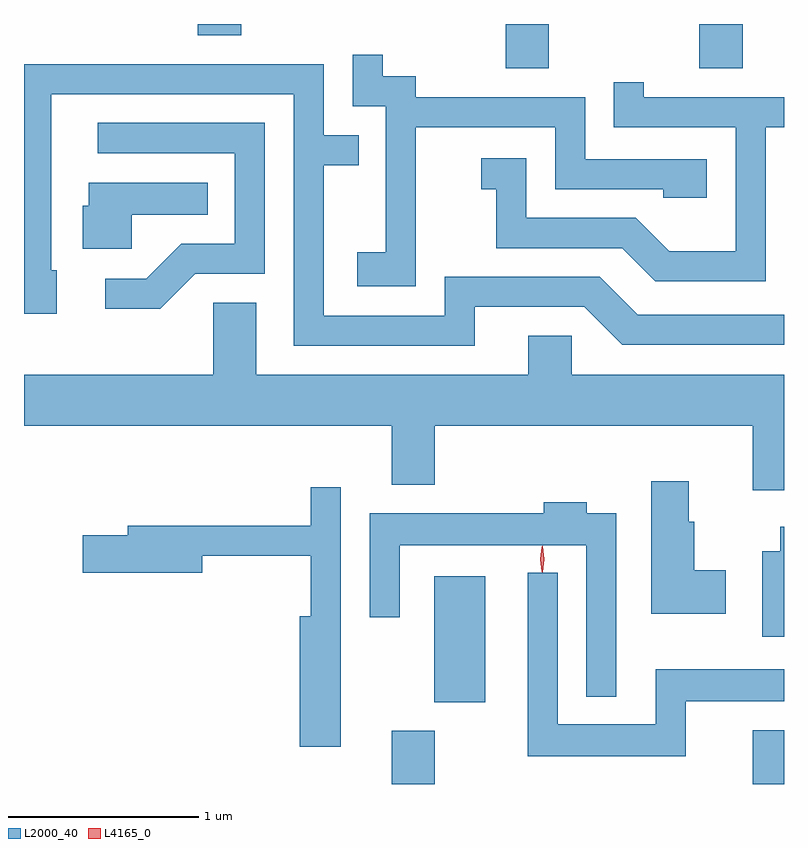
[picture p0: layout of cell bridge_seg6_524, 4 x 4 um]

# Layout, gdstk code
import gdstk
lib = gdstk.Library(unit=1e-6, precision=1e-09)
def R(c, l, rs):  # rectangles x0, y0, x1, y1
    for r in rs: c.add(gdstk.rectangle(r[:2], r[2:], *l))
def P(c, l, *ps):  # polygons
    for p in ps: c.add(gdstk.Polygon(p, *l))
L2000_40 = (2000, 40)
L4165_0 = (4165, 0)

bridge_seg6_524 = lib.new_cell('bridge_seg6_524')
R(bridge_seg6_524, L2000_40, [(485.141,1634.73,485.369,1635.009), (487.041,1634.73,487.206,1635.014), (485.366,1635.161,485.634,1635.824), (485.741,1638.496,485.969,1638.73), (486.761,1638.496,486.989,1638.73), (484.121,1638.671,484.349,1638.73)])
P(bridge_seg6_524, L2000_40, [(485.269,1638.186),(486.001,1638.186),(486.001,1637.861),(486.571,1637.861),(486.571,1637.816),(486.799,1637.816),(486.799,1638.019),(486.159,1638.019),(486.159,1638.344),(485.269,1638.344),(485.269,1638.454),(485.094,1638.454),(485.094,1638.568),(484.936,1638.568),(484.936,1638.296),(485.111,1638.296),(485.111,1637.529),(484.961,1637.529),(484.961,1637.351),(485.269,1637.351)],
  [(485.579,1637.241),(486.154,1637.241),(486.354,1637.041),(487.206,1637.041),(487.206,1637.199),(486.437,1637.199),(486.237,1637.399),(485.421,1637.399),(485.421,1637.194),(484.784,1637.194),(484.784,1637.986),(484.968,1637.986),(484.968,1638.144),(484.784,1638.144),(484.784,1638.519),(483.206,1638.519),(483.206,1637.206),(483.379,1637.206),(483.379,1637.434),(483.349,1637.434),(483.349,1638.361),(484.626,1638.361),(484.626,1637.036),(485.579,1637.036)],
  [(487.109,1638.186),(487.206,1638.186),(487.206,1638.344),(486.469,1638.344),(486.469,1638.423),(486.311,1638.423),(486.311,1638.186),(486.951,1638.186),(486.951,1637.534),(486.602,1637.534),(486.427,1637.709),(485.849,1637.709),(485.849,1638.024),(485.613,1638.024),(485.613,1637.861),(485.691,1637.861),(485.691,1637.551),(486.354,1637.551),(486.529,1637.376),(487.109,1637.376)],
  [(484.107,1637.416),(484.474,1637.416),(484.474,1638.209),(483.593,1638.209),(483.593,1638.051),(484.316,1638.051),(484.316,1637.574),(484.034,1637.574),(483.849,1637.389),(483.633,1637.389),(483.633,1637.231),(483.922,1637.231)],
  [(483.774,1637.726),(484.173,1637.726),(484.173,1637.894),(483.546,1637.894),(483.546,1637.774),(483.516,1637.774),(483.516,1637.546),(483.774,1637.546)],
  [(487.206,1636.884),(486.089,1636.884),(486.089,1637.089),(485.861,1637.089),(485.861,1636.884),(484.429,1636.884),(484.429,1637.264),(484.201,1637.264),(484.201,1636.884),(483.206,1636.884),(483.206,1636.616),(485.141,1636.616),(485.141,1636.306),(485.369,1636.306),(485.369,1636.616),(487.041,1636.616),(487.041,1636.276),(487.206,1636.276)],
  [(486.899,1635.854),(486.734,1635.854),(486.734,1636.109),(486.704,1636.109),(486.704,1636.324),(486.506,1636.324),(486.506,1635.626),(486.899,1635.626)],
  [(484.874,1636.293),(484.716,1636.293),(484.716,1636.089),(483.751,1636.089),(483.751,1636.039),(483.516,1636.039),(483.516,1635.841),(484.144,1635.841),(484.144,1635.931),(484.716,1635.931),(484.716,1635.614),(484.656,1635.614),(484.656,1634.926),(484.874,1634.926)],
  [(486.324,1636.154),(486.169,1636.154),(486.169,1636.214),(485.941,1636.214),(485.941,1636.154),(485.026,1636.154),(485.026,1635.608),(485.184,1635.608),(485.184,1635.986),(486.166,1635.986),(486.166,1635.188),(486.324,1635.188)],
  [(487.206,1636.084),(487.186,1636.084),(487.186,1635.954),(487.091,1635.954),(487.091,1635.506),(487.206,1635.506)],
  [(486.689,1635.166),(487.206,1635.166),(487.206,1635.334),(486.531,1635.334),(486.531,1635.044),(486.014,1635.044),(486.014,1635.843),(485.856,1635.843),(485.856,1634.876),(486.689,1634.876)])
P(bridge_seg6_524, L4165_0, [(485.934,1635.844),(485.925,1635.914),(485.934,1635.982),(485.935,1635.983),(485.935,1635.982),(485.945,1635.914),(485.935,1635.844),(485.935,1635.844)],
  [(485.932,1635.847),(485.932,1635.848),(485.922,1635.914),(485.932,1635.98),(485.932,1635.98),(485.932,1635.98),(485.942,1635.914),(485.933,1635.848)])

lib.write_gds('bridge_seg6_524.gds')
